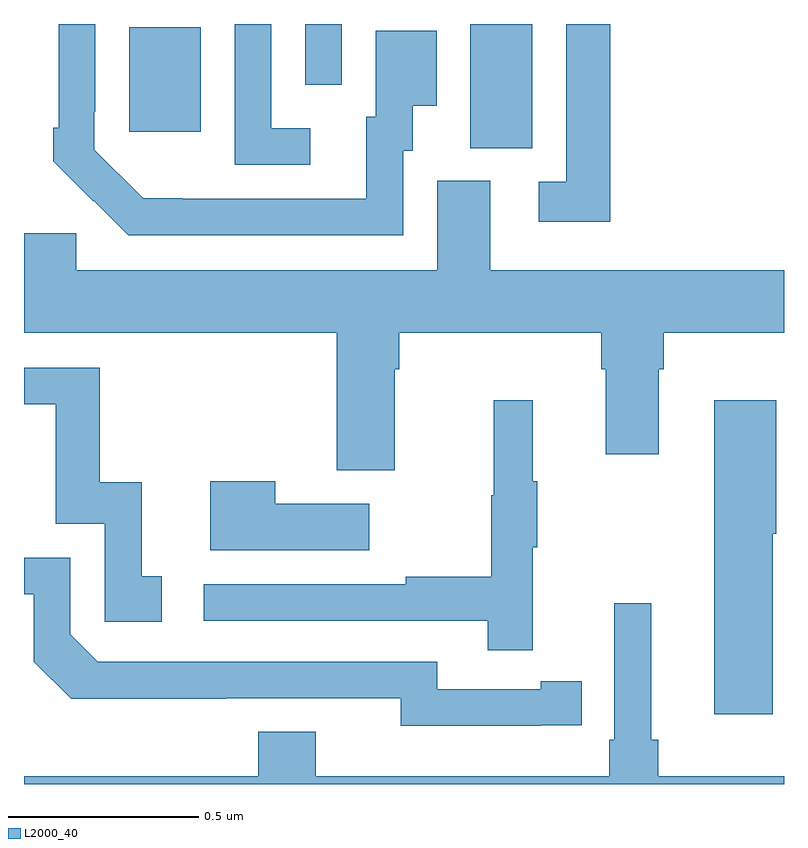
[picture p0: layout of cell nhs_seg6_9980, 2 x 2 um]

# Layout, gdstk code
import gdstk
lib = gdstk.Library(unit=1e-6, precision=1e-09)
def R(c, l, rs):  # rectangles x0, y0, x1, y1
    for r in rs: c.add(gdstk.rectangle(r[:2], r[2:], *l))
def P(c, l, *ps):  # polygons
    for p in ps: c.add(gdstk.Polygon(p, *l))
L2000_40 = (2000, 40)

nhs_seg6_9980 = lib.new_cell('nhs_seg6_9980')
R(nhs_seg6_9980, L2000_40, [(242.174,929.173,242.338,929.5), (241.277,929.217,241.465,929.491), (241.74,929.34,241.836,929.5)])
P(nhs_seg6_9980, L2000_40, [(241.998,929.166),(242.023,929.166),(242.023,929.285),(242.086,929.285),(242.086,929.482),(241.925,929.482),(241.925,929.256),(241.901,929.256),(241.901,929.04),(241.417,929.04),(241.417,929.041),(241.314,929.041),(241.185,929.169),(241.185,929.269),(241.188,929.269),(241.188,929.5),(241.092,929.5),(241.092,929.227),(241.077,929.227),(241.077,929.139),(241.182,929.034),(241.183,929.035),(241.274,928.944),(241.998,928.944)],
  [(242.543,929.5),(242.427,929.5),(242.427,929.085),(242.355,929.085),(242.355,928.98),(242.543,928.98)],
  [(241.753,929.226),(241.65,929.226),(241.65,929.5),(241.554,929.5),(241.554,929.13),(241.753,929.13)],
  [(242.519,928.592),(242.531,928.592),(242.531,928.368),(242.671,928.368),(242.671,928.592),(242.684,928.592),(242.684,928.688),(243,928.688),(243,928.852),(242.227,928.852),(242.227,929.088),(242.087,929.088),(242.087,928.852),(241.137,928.852),(241.137,928.95),(241,928.95),(241,928.688),(241.823,928.688),(241.823,928.326),(241.975,928.326),(241.975,928.592),(241.988,928.592),(241.988,928.688),(242.519,928.688)],
  [(241.363,928.047),(241.31,928.047),(241.31,928.294),(241.199,928.294),(241.199,928.596),(241,928.596),(241,928.5),(241.083,928.5),(241.083,928.185),(241.212,928.185),(241.212,927.927),(241.363,927.927)],
  [(242.97,928.158),(242.98,928.158),(242.98,928.51),(242.816,928.51),(242.816,927.684),(242.97,927.684)],
  [(242.339,928.123),(242.35,928.123),(242.35,928.297),(242.339,928.297),(242.339,928.51),(242.236,928.51),(242.236,928.26),(242.229,928.26),(242.229,928.046),(242.005,928.046),(242.005,928.026),(241.473,928.026),(241.473,927.93),(242.221,927.93),(242.221,927.852),(242.339,927.852)],
  [(241.909,928.237),(241.661,928.237),(241.661,928.297),(241.49,928.297),(241.49,928.115),(241.909,928.115)],
  [(242.36,927.654),(242.468,927.654),(242.468,927.77),(242.36,927.77),(242.36,927.75),(242.088,927.75),(242.088,927.822),(241.194,927.822),(241.122,927.894),(241.122,928.095),(241,928.095),(241,927.999),(241.026,927.999),(241.026,927.822),(241.124,927.725),(241.532,927.725),(241.532,927.726),(241.992,927.726),(241.992,927.653),(242.36,927.653)],
  [(243,927.52),(242.669,927.52),(242.669,927.616),(242.65,927.616),(242.65,927.976),(242.553,927.976),(242.553,927.616),(242.54,927.616),(242.54,927.52),(241.768,927.52),(241.768,927.637),(241.616,927.637),(241.616,927.52),(241,927.52),(241,927.5),(243,927.5)])

lib.write_gds('nhs_seg6_9980.gds')
